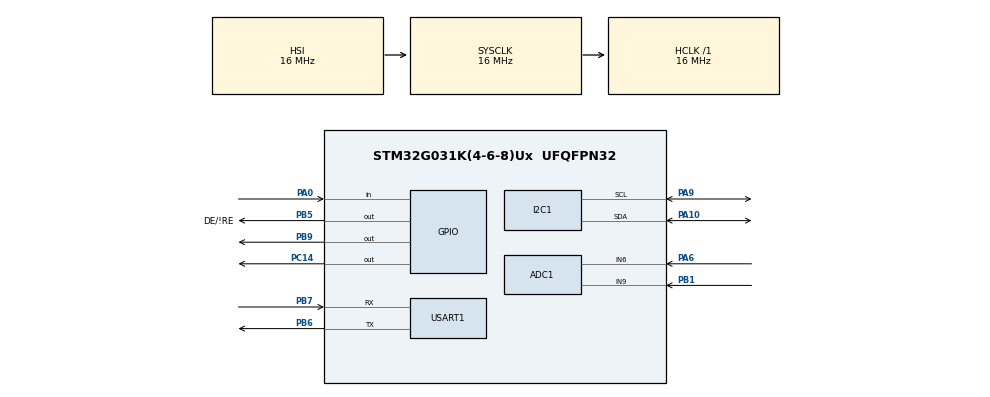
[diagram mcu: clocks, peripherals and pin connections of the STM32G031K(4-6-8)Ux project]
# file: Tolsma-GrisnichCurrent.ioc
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ADC1.Channel-0\#ChannelRegularConversion=ADC_CHANNEL_6
ADC1.NbrOfConversionFlag=1
ADC1.Rank-0\#ChannelRegularConversion=1
ADC1.SamplingTime-0\#ChannelRegularConversion=ADC_SAMPLINGTIME_COMMON_1
ADC1.SelectedChannel=ADC_CHANNEL_6|ADC_CHANNEL_9
ADC1.master=1
CRC.CRCLength=CRC_POLYLENGTH_8B
CRC.DefaultInitValueUse=DEFAULT_INIT_VALUE_ENABLE
CRC.DefaultPolynomialUse=DEFAULT_POLYNOMIAL_DISABLE
Dma.Request0=USART1_RX
Dma.USART1_RX.0.Direction=DMA_PERIPH_TO_MEMORY
Dma.USART1_RX.0.EventEnable=DISABLE
Dma.USART1_RX.0.Instance=DMA1_Channel1
Dma.USART1_RX.0.MemDataAlignment=DMA_MDATAALIGN_BYTE
Dma.USART1_RX.0.MemInc=DMA_MINC_ENABLE
Dma.USART1_RX.0.Mode=DMA_NORMAL
Dma.USART1_RX.0.PeriphDataAlignment=DMA_PDATAALIGN_BYTE
Dma.USART1_RX.0.PeriphInc=DMA_PINC_DISABLE
Dma.USART1_RX.0.Polarity=HAL_DMAMUX_REQ_GEN_RISING
Dma.USART1_RX.0.Priority=DMA_PRIORITY_HIGH
Dma.USART1_RX.0.RequestNumber=1
Dma.USART1_RX.0.SignalID=NONE
Dma.USART1_RX.0.SyncEnable=DISABLE
Dma.USART1_RX.0.SyncPolarity=HAL_DMAMUX_SYNC_NO_EVENT
Dma.USART1_RX.0.SyncRequestNumber=1
Dma.USART1_RX.0.SyncSignalID=NONE
FREERTOS.Mutexes01=CRCMutex,Dynamic,NULL,Available;ADCMutex,Dynamic,NULL,Available
FREERTOS.Queues01=uartDataQueue,4,uint32_t,0,Dynamic,NULL,NULL;stroomDataQueue,4,uint16_t,0,Dynamic,NULL,NULL
FREERTOS.Tasks01=UartRegeling,0,128,StartUartRegeling,Default,NULL,Dynamic,NULL,NULL;Stroomregeling,-2,128,StartStroomregeling,Default,NULL,Dynamic,NULL,NULL
FREERTOS.configUSE_NEWLIB_REENTRANT=0
I2C1.Timing=0x00503D58
Mcu.Family=STM32G0
Mcu.Name=STM32G031K(4-6-8)Ux
Mcu.Package=UFQFPN32
NVIC.DMA1_Channel1_IRQn=true\:3\:0\:false\:false\:true\:true\:false\:true\:true
NVIC.TIM1_BRK_UP_TRG_COM_IRQn=true\:3\:0\:false\:false\:true\:false\:false\:true\:true
NVIC.TimeBase=TIM1_BRK_UP_TRG_COM_IRQn
NVIC.TimeBaseIP=TIM1
NVIC.USART1_IRQn=true\:3\:0\:false\:false\:true\:true\:true\:true\:true
PA0.Signal=GPIO_Input
PA10.Mode=I2C
PA10.Signal=I2C1_SDA
PA13.Mode=Serial_Wire
PA13.Signal=SYS_SWDIO
PA14-BOOT0.Mode=Serial_Wire
PA14-BOOT0.Signal=SYS_SWCLK
PA6.Mode=IN6
PA6.Signal=ADC1_IN6
PA9.Mode=I2C
PA9.Signal=I2C1_SCL
PB1.Mode=IN9
PB1.Signal=ADC1_IN9
PB5.GPIO_Label=DE/\!RE
PB5.Signal=GPIO_Output
PB6.Mode=Asynchronous
PB6.Signal=USART1_TX
PB7.Mode=Asynchronous
PB7.Signal=USART1_RX
PB9.Signal=GPIO_Output
PC14-OSC32_IN\ (PC14).Signal=GPIO_Output
ProjectManager.HeapSize=0x200
ProjectManager.StackSize=0x400
ProjectManager.TargetToolchain=STM32CubeIDE
RCC.ADCFreq_Value=16000000
RCC.AHBFreq_Value=16000000
RCC.CortexFreq_Value=16000000
RCC.EXTERNAL_CLOCK_VALUE=12288000
RCC.HCLKFreq_Value=16000000
RCC.HSE_VALUE=8000000
RCC.HSI_VALUE=16000000
RCC.LSE_VALUE=32768
RCC.SYSCLKFreq_VALUE=16000000
RCC.VCOOutputFreq_Value=128000000
USART1.Parity=PARITY_NONE
USART1.SwapParam=ADVFEATURE_SWAP_DISABLE
USART1.VirtualMode-Asynchronous=VM_ASYNC
VP_CRC_VS_CRC.Mode=CRC_Activate
VP_FREERTOS_VS_CMSIS_V1.Mode=CMSIS_V1
VP_SYS_VS_tim1.Mode=TIM1
board=custom

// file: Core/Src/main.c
/* USER CODE BEGIN Header */
/**
  ******************************************************************************
  * @file           : main.c
  * @brief          : Main program body
  ******************************************************************************
  * @attention
  *
  * Copyright (c) 2025 STMicroelectronics.
  * All rights reserved.
  *
  * This software is licensed under terms that can be found in the LICENSE file
  * in the root directory of this software component.
  * If no LICENSE file comes with this software, it is provided AS-IS.
  *
  ******************************************************************************
  */
/* USER CODE END Header */
#include "main.h"
#include "cmsis_os.h"

/* USER CODE BEGIN Includes */
#include <stdbool.h>
#include <math.h>

/* USER CODE END Includes */

ADC_HandleTypeDef hadc1;

CRC_HandleTypeDef hcrc;

I2C_HandleTypeDef hi2c1;

UART_HandleTypeDef huart1;
DMA_HandleTypeDef hdma_usart1_rx;

osThreadId UartRegelingHandle;
osThreadId StroomregelingHandle;
osMessageQId uartDataQueueHandle;
osMessageQId stroomDataQueueHandle;
osMutexId CRCMutexHandle;
osMutexId ADCMutexHandle;
/* USER CODE BEGIN PV */

uint8_t adres = 1;
uint8_t RXData[4];
volatile bool RXReady = false;

/* USER CODE END PV */

void SystemClock_Config(void);
static void MX_GPIO_Init(void);
static void MX_DMA_Init(void);
static void MX_ADC1_Init(void);
static void MX_I2C1_Init(void);
static void MX_USART1_UART_Init(void);
static void MX_CRC_Init(void);
void StartUartRegeling(void const * argument);
void StartStroomregeling(void const * argument);

/* USER CODE BEGIN 0 */

//check of werkt
void calculateMessage(uint16_t data, uint8_t adress, uint8_t* TXData)
{
    // Vul het frame
    TXData[0] = adress;
    TXData[1] = (data >> 8) & 0x0F;   // bovenste 4 bits van 12-bit data
    TXData[2] = data & 0xFF;          // onderste 8 bits

    osMutexWait(CRCMutexHandle, osWaitForever);  // Mutex CRC aan

    //3 bytes array naar een uint32_t
    uint32_t crc_input =	((uint32_t)TXData[0] << 24) |
    						((uint32_t)TXData[1] << 16) |
							((uint32_t)TXData[2] << 8);

    TXData[3] = (uint8_t)HAL_CRC_Calculate(&hcrc, &crc_input, 1);
    __HAL_CRC_DR_RESET(&hcrc);	// Reset CRC
    osMutexRelease(CRCMutexHandle);     // Geef mutex terug
}

bool checkCRCMessage(uint8_t *RXData)
{
	//Mutex claimen
	osMutexWait(CRCMutexHandle, osWaitForever);

    uint32_t crc_input =	((uint32_t)RXData[0] << 24) |
    						((uint32_t)RXData[1] << 16) |
							((uint32_t)RXData[2] << 8);

    uint8_t crc = (uint8_t)HAL_CRC_Calculate(&hcrc, &crc_input, 1);
    //Reset CRC
    __HAL_CRC_DR_RESET(&hcrc);

    //Mutex loslaten
    osMutexRelease(CRCMutexHandle);

    return (crc == RXData[3]);
}

bool isAdresCorrect(uint8_t *RXData, uint8_t adres){
	return (adres == RXData[0]);
}

//Called bij een uart interrupt klaar
void HAL_UART_RxCpltCallback(UART_HandleTypeDef *huart){
    if (huart->Instance != USART1)
        return;

    //Combineert de 4 byte array en stuurt naar task
    uint32_t RXData32 = ((uint32_t)RXData[0] << 24) |
                		((uint32_t)RXData[1] << 16) |
						((uint32_t)RXData[2] << 8)  |
						((uint32_t)RXData[3]);
    BaseType_t xHigherPriorityTaskWoken = pdFALSE;
	xQueueSendFromISR(uartDataQueueHandle, &RXData32, &xHigherPriorityTaskWoken);
	portYIELD_FROM_ISR(xHigherPriorityTaskWoken);

    //klaar voor volgend bericht
    HAL_GPIO_WritePin(GPIOB, GPIO_PIN_5, GPIO_PIN_RESET); //Receive mode
    HAL_UART_Receive_DMA(huart, RXData, 4);
}

int32_t ADCtoStroom(uint16_t adc_value)
{
    const uint16_t ADC4m  = 884;
    const uint16_t ADC20m = 3940;

    // lineair, ook onder 4m en boven 20m
    return ((int32_t)(adc_value - ADC4m) * 4096) / (ADC20m - ADC4m);
}

void sendDAC(uint16_t DACData){
	//Stuur DAC aan op basis van 12 bit waarde
	//Zonder MUTEX, want maar 1 plek gebruikt het
	if(DACData > 0x0FFF){
		DACData = 0x0FFF;
	}

    uint8_t buffer[3];
    buffer[0] = 0x40;            		// Command byte
    buffer[1] = (DACData >> 4) & 0xFF; 	// Upper 8 bits
    buffer[2] = (DACData & 0x0F) << 4; 	// Lower 4 bits

    //I2C DAC aansturing
    HAL_I2C_Master_Transmit(&hi2c1, (0x61 << 1), buffer, 3, HAL_MAX_DELAY);
}

uint16_t ADCChannelSamples(uint32_t channel, uint8_t ADCSamples)
{
    uint32_t sum = 0;
    ADC_ChannelConfTypeDef sConfig = {0};

    // Mutex claimen
    osMutexWait(ADCMutexHandle, osWaitForever);

    // Channel instellen
    sConfig.Channel = channel;
    sConfig.Rank = ADC_REGULAR_RANK_1;
    sConfig.SamplingTime = ADC_SAMPLINGTIME_COMMON_1;
    HAL_ADC_ConfigChannel(&hadc1, &sConfig);

    // Averaging
    for (uint8_t i = 0; i < ADCSamples; i++) {
        HAL_ADC_Start(&hadc1);
        HAL_ADC_PollForConversion(&hadc1, HAL_MAX_DELAY);
        sum += HAL_ADC_GetValue(&hadc1);
        HAL_ADC_Stop(&hadc1);
    }

    // Mutex loslaten
    osMutexRelease(ADCMutexHandle);

    return (uint16_t)(sum / ADCSamples);
}

void I2C_Scanner(void)
{
    HAL_StatusTypeDef status;
    uint8_t device_found = 0;

    // Loop over alle mogelijke 7-bit I2C adressen (0x03 t/m 0x77)
    for(uint8_t addr = 0x03; addr <= 0x77; addr++) {
        status = HAL_I2C_IsDeviceReady(&hi2c1, addr << 1, 3, 10);
        if(status == HAL_OK) {
            device_found = 1;
            break; // stop bij het eerste gevonden device
        }
    }

    if(device_found) {
        HAL_GPIO_WritePin(GPIOC, GPIO_PIN_14, GPIO_PIN_SET);   // LED aan
    } else {
        HAL_GPIO_WritePin(GPIOC, GPIO_PIN_14, GPIO_PIN_RESET); // LED uit
    }
}

uint8_t I2C_TestAddress(uint8_t address)
{
    HAL_StatusTypeDef status;
    // HAL verwacht 7-bit adres links verschoven
    status = HAL_I2C_IsDeviceReady(&hi2c1, address << 1, 3, 100); // 3 trials, 100 ms timeout

    if(status == HAL_OK)
    {
        // Apparaat reageert → LED aan
        HAL_GPIO_WritePin(GPIOC, GPIO_PIN_14, GPIO_PIN_SET);
        return 1;
    }
    else
    {
        // Geen reactie → LED uit
        HAL_GPIO_WritePin(GPIOC, GPIO_PIN_14, GPIO_PIN_RESET);
        return 0;
    }
}

void UART_SendADC(uint16_t adcValue)
{
    uint8_t txBuf[2];

    adcValue &= 0x0FFF;      // Zorg dat het 12-bit is

    txBuf[0] = (adcValue >> 8) & 0xFF;  // High byte
    txBuf[1] = adcValue & 0xFF;         // Low byte

	HAL_GPIO_WritePin(GPIOB, GPIO_PIN_5, GPIO_PIN_SET); // Send mode
    HAL_UART_Transmit(&huart1, txBuf, 2, HAL_MAX_DELAY);
    HAL_GPIO_WritePin(GPIOB, GPIO_PIN_5, GPIO_PIN_RESET); //Receive mode
}

uint16_t UART_ReceiveADC(void)
{
    uint8_t rxBuf[2];
    uint16_t adcValue;

    HAL_GPIO_WritePin(GPIOD, GPIO_PIN_4, GPIO_PIN_RESET); //Receive mode
    HAL_UART_Receive(&huart1, rxBuf, 2, HAL_MAX_DELAY);

    adcValue = ((uint16_t)rxBuf[0] << 8) | rxBuf[1];
    adcValue &= 0x0FFF; // veiligheid

    return adcValue;
}

static inline int32_t ABS(int32_t x)
{
    return (x >= 0) ? x : -x;
}

static inline float clampf(float x, float min, float max)
{
    if (x < min) return min;
    if (x > max) return max;
    return x;
}

/* USER CODE END 0 */

int main(void)
{

  /* MCU Configuration--------------------------------------------------------*/

  /* Reset of all peripherals, Initializes the Flash interface and the Systick. */
  HAL_Init();

  /* Configure the system clock */
  SystemClock_Config();

  /* Initialize all configured peripherals */
  MX_GPIO_Init();
  MX_DMA_Init();
  MX_ADC1_Init();
  MX_I2C1_Init();
  MX_USART1_UART_Init();
  MX_CRC_Init();

  /* Create the mutex(es) */
  /* definition and creation of CRCMutex */
  osMutexDef(CRCMutex);
  CRCMutexHandle = osMutexCreate(osMutex(CRCMutex));

  /* definition and creation of ADCMutex */
  osMutexDef(ADCMutex);
  ADCMutexHandle = osMutexCreate(osMutex(ADCMutex));

  /* Create the queue(s) */
  /* definition and creation of uartDataQueue */
  osMessageQDef(uartDataQueue, 4, uint32_t);
  uartDataQueueHandle = osMessageCreate(osMessageQ(uartDataQueue), NULL);

  /* definition and creation of stroomDataQueue */
  osMessageQDef(stroomDataQueue, 4, uint16_t);
  stroomDataQueueHandle = osMessageCreate(osMessageQ(stroomDataQueue), NULL);

  /* Create the thread(s) */
  /* definition and creation of UartRegeling */
  osThreadDef(UartRegeling, StartUartRegeling, osPriorityNormal, 0, 128);
  UartRegelingHandle = osThreadCreate(osThread(UartRegeling), NULL);

  /* definition and creation of Stroomregeling */
  osThreadDef(Stroomregeling, StartStroomregeling, osPriorityLow, 0, 128);
  StroomregelingHandle = osThreadCreate(osThread(Stroomregeling), NULL);

  /* Start scheduler */
  osKernelStart();

  /* We should never get here as control is now taken by the scheduler */

  /* Infinite loop */
  while (1)
  {
	    HAL_Delay(10);
  }
}

void SystemClock_Config(void)
{
  RCC_OscInitTypeDef RCC_OscInitStruct = {0};
  RCC_ClkInitTypeDef RCC_ClkInitStruct = {0};

  /** Configure the main internal regulator output voltage
  */
  HAL_PWREx_ControlVoltageScaling(PWR_REGULATOR_VOLTAGE_SCALE1);

  /** Initializes the RCC Oscillators according to the specified parameters
  * in the RCC_OscInitTypeDef structure.
  */
  RCC_OscInitStruct.OscillatorType = RCC_OSCILLATORTYPE_HSI;
  RCC_OscInitStruct.HSIState = RCC_HSI_ON;
  RCC_OscInitStruct.HSIDiv = RCC_HSI_DIV1;
  RCC_OscInitStruct.HSICalibrationValue = RCC_HSICALIBRATION_DEFAULT;
  RCC_OscInitStruct.PLL.PLLState = RCC_PLL_NONE;
  if (HAL_RCC_OscConfig(&RCC_OscInitStruct) != HAL_OK)
  {
    Error_Handler();
  }

  /** Initializes the CPU, AHB and APB buses clocks
  */
  RCC_ClkInitStruct.ClockType = RCC_CLOCKTYPE_HCLK|RCC_CLOCKTYPE_SYSCLK
                              |RCC_CLOCKTYPE_PCLK1;
  RCC_ClkInitStruct.SYSCLKSource = RCC_SYSCLKSOURCE_HSI;
  RCC_ClkInitStruct.AHBCLKDivider = RCC_SYSCLK_DIV1;
  RCC_ClkInitStruct.APB1CLKDivider = RCC_HCLK_DIV1;

  if (HAL_RCC_ClockConfig(&RCC_ClkInitStruct, FLASH_LATENCY_0) != HAL_OK)
  {
    Error_Handler();
  }
}

static void MX_ADC1_Init(void)
{

  ADC_ChannelConfTypeDef sConfig = {0};

  /** Configure the global features of the ADC (Clock, Resolution, Data Alignment and number of conversion)
  */
  hadc1.Instance = ADC1;
  hadc1.Init.ClockPrescaler = ADC_CLOCK_SYNC_PCLK_DIV2;
  hadc1.Init.Resolution = ADC_RESOLUTION_12B;
  hadc1.Init.DataAlign = ADC_DATAALIGN_RIGHT;
  hadc1.Init.ScanConvMode = ADC_SCAN_DISABLE;
  hadc1.Init.EOCSelection = ADC_EOC_SINGLE_CONV;
  hadc1.Init.LowPowerAutoWait = DISABLE;
  hadc1.Init.LowPowerAutoPowerOff = DISABLE;
  hadc1.Init.ContinuousConvMode = DISABLE;
  hadc1.Init.NbrOfConversion = 1;
  hadc1.Init.DiscontinuousConvMode = DISABLE;
  hadc1.Init.ExternalTrigConv = ADC_SOFTWARE_START;
  hadc1.Init.ExternalTrigConvEdge = ADC_EXTERNALTRIGCONVEDGE_NONE;
  hadc1.Init.DMAContinuousRequests = DISABLE;
  hadc1.Init.Overrun = ADC_OVR_DATA_PRESERVED;
  hadc1.Init.SamplingTimeCommon1 = ADC_SAMPLETIME_1CYCLE_5;
  hadc1.Init.SamplingTimeCommon2 = ADC_SAMPLETIME_1CYCLE_5;
  hadc1.Init.OversamplingMode = DISABLE;
  hadc1.Init.TriggerFrequencyMode = ADC_TRIGGER_FREQ_HIGH;
  if (HAL_ADC_Init(&hadc1) != HAL_OK)
  {
    Error_Handler();
  }

  /** Configure Regular Channel
  */
  sConfig.Channel = ADC_CHANNEL_6;
  sConfig.Rank = ADC_REGULAR_RANK_1;
  sConfig.SamplingTime = ADC_SAMPLINGTIME_COMMON_1;
  if (HAL_ADC_ConfigChannel(&hadc1, &sConfig) != HAL_OK)
  {
    Error_Handler();
  }

}

static void MX_CRC_Init(void)
{

  hcrc.Instance = CRC;
  hcrc.Init.DefaultPolynomialUse = DEFAULT_POLYNOMIAL_DISABLE;
  hcrc.Init.DefaultInitValueUse = DEFAULT_INIT_VALUE_ENABLE;
  hcrc.Init.GeneratingPolynomial = 7;
  hcrc.Init.CRCLength = CRC_POLYLENGTH_8B;
  hcrc.Init.InputDataInversionMode = CRC_INPUTDATA_INVERSION_NONE;
  hcrc.Init.OutputDataInversionMode = CRC_OUTPUTDATA_INVERSION_DISABLE;
  hcrc.InputDataFormat = CRC_INPUTDATA_FORMAT_BYTES;
  if (HAL_CRC_Init(&hcrc) != HAL_OK)
  {
    Error_Handler();
  }

}

static void MX_I2C1_Init(void)
{

  hi2c1.Instance = I2C1;
  hi2c1.Init.Timing = 0x00503D58;
  hi2c1.Init.OwnAddress1 = 0;
  hi2c1.Init.AddressingMode = I2C_ADDRESSINGMODE_7BIT;
  hi2c1.Init.DualAddressMode = I2C_DUALADDRESS_DISABLE;
  hi2c1.Init.OwnAddress2 = 0;
  hi2c1.Init.OwnAddress2Masks = I2C_OA2_NOMASK;
  hi2c1.Init.GeneralCallMode = I2C_GENERALCALL_DISABLE;
  hi2c1.Init.NoStretchMode = I2C_NOSTRETCH_DISABLE;
  if (HAL_I2C_Init(&hi2c1) != HAL_OK)
  {
    Error_Handler();
  }

  /** Configure Analogue filter
  */
  if (HAL_I2CEx_ConfigAnalogFilter(&hi2c1, I2C_ANALOGFILTER_ENABLE) != HAL_OK)
  {
    Error_Handler();
  }

  /** Configure Digital filter
  */
  if (HAL_I2CEx_ConfigDigitalFilter(&hi2c1, 0) != HAL_OK)
  {
    Error_Handler();
  }

}

static void MX_USART1_UART_Init(void)
{

  huart1.Instance = USART1;
  huart1.Init.BaudRate = 115200;
  huart1.Init.WordLength = UART_WORDLENGTH_8B;
  huart1.Init.StopBits = UART_STOPBITS_1;
  huart1.Init.Parity = UART_PARITY_NONE;
  huart1.Init.Mode = UART_MODE_TX_RX;
  huart1.Init.HwFlowCtl = UART_HWCONTROL_NONE;
  huart1.Init.OverSampling = UART_OVERSAMPLING_16;
  huart1.Init.OneBitSampling = UART_ONE_BIT_SAMPLE_DISABLE;
  huart1.Init.ClockPrescaler = UART_PRESCALER_DIV1;
  huart1.AdvancedInit.AdvFeatureInit = UART_ADVFEATURE_NO_INIT;
  if (HAL_UART_Init(&huart1) != HAL_OK)
  {
    Error_Handler();
  }
  if (HAL_UARTEx_SetTxFifoThreshold(&huart1, UART_TXFIFO_THRESHOLD_1_8) != HAL_OK)
  {
    Error_Handler();
  }
  if (HAL_UARTEx_SetRxFifoThreshold(&huart1, UART_RXFIFO_THRESHOLD_1_8) != HAL_OK)
  {
    Error_Handler();
  }
  if (HAL_UARTEx_DisableFifoMode(&huart1) != HAL_OK)
  {
    Error_Handler();
  }

}

static void MX_DMA_Init(void)
{

  /* DMA controller clock enable */
  __HAL_RCC_DMA1_CLK_ENABLE();

  /* DMA interrupt init */
  /* DMA1_Channel1_IRQn interrupt configuration */
  HAL_NVIC_SetPriority(DMA1_Channel1_IRQn, 3, 0);
  HAL_NVIC_EnableIRQ(DMA1_Channel1_IRQn);

}

static void MX_GPIO_Init(void)
{
  GPIO_InitTypeDef GPIO_InitStruct = {0};

  /* GPIO Ports Clock Enable */
  __HAL_RCC_GPIOB_CLK_ENABLE();
  __HAL_RCC_GPIOC_CLK_ENABLE();
  __HAL_RCC_GPIOA_CLK_ENABLE();

  /*Configure GPIO pin Output Level */
  HAL_GPIO_WritePin(GPIOB, GPIO_PIN_9|DE__RE_Pin, GPIO_PIN_RESET);

  /*Configure GPIO pin Output Level */
  HAL_GPIO_WritePin(GPIOC, GPIO_PIN_14, GPIO_PIN_RESET);

  /*Configure GPIO pins : PB9 DE__RE_Pin */
  GPIO_InitStruct.Pin = GPIO_PIN_9|DE__RE_Pin;
  GPIO_InitStruct.Mode = GPIO_MODE_OUTPUT_PP;
  GPIO_InitStruct.Pull = GPIO_NOPULL;
  GPIO_InitStruct.Speed = GPIO_SPEED_FREQ_LOW;
  HAL_GPIO_Init(GPIOB, &GPIO_InitStruct);

  /*Configure GPIO pin : PC14 */
  GPIO_InitStruct.Pin = GPIO_PIN_14;
  GPIO_InitStruct.Mode = GPIO_MODE_OUTPUT_PP;
  GPIO_InitStruct.Pull = GPIO_NOPULL;
  GPIO_InitStruct.Speed = GPIO_SPEED_FREQ_LOW;
  HAL_GPIO_Init(GPIOC, &GPIO_InitStruct);

  /*Configure GPIO pin : PA0 */
  GPIO_InitStruct.Pin = GPIO_PIN_0;
  GPIO_InitStruct.Mode = GPIO_MODE_INPUT;
  GPIO_InitStruct.Pull = GPIO_NOPULL;
  HAL_GPIO_Init(GPIOA, &GPIO_InitStruct);

}

void StartUartRegeling(void const * argument)
{
  /* USER CODE BEGIN 5 */

	//uint32_t receivedRXData32;
	//HAL_GPIO_WritePin(GPIOB, GPIO_PIN_5, GPIO_PIN_RESET); //Receive mode
	//HAL_UART_Receive_DMA(&huart1, RXData, 4);

  /* Infinite loop */
  for(;;)
  {
	  /*
	  if(xQueueReceive(uartDataQueueHandle, &receivedRXData32, pdMS_TO_TICKS(50)) == pdTRUE){
		  //Stuurt zelfde data naar controller (adres 0)
		  uint8_t receivedRXData[4];
		  receivedRXData[0] = (receivedRXData32 >> 24) & 0xFF;
		  receivedRXData[1] = (receivedRXData32 >> 16) & 0xFF;
		  receivedRXData[2] = (receivedRXData32 >> 8)  & 0xFF;
		  receivedRXData[3] =  receivedRXData32        & 0xFF;

		  //Check of het adres en de CRC klopt
		  if(isAdresCorrect(receivedRXData, adres) && checkCRCMessage(receivedRXData)){
			  uint16_t receiveStroomData = 	((uint16_t)receivedRXData[1] << 8) | receivedRXData[2];
			  uint8_t ack[4];
			  calculateMessage(receiveStroomData, 0, ack); //0 is de controller
			  //Stuur de ack
			  HAL_GPIO_WritePin(GPIOB, GPIO_PIN_5, GPIO_PIN_SET); // Send mode
			  HAL_UART_Transmit(&huart1, ack, 4, HAL_MAX_DELAY);
			  HAL_GPIO_WritePin(GPIOB, GPIO_PIN_5, GPIO_PIN_RESET); //Receive mode

			  //Via queue naar andere task sturen die de stroom regelt receiveStroomData
			  xQueueSend(stroomDataQueueHandle, &receiveStroomData, portMAX_DELAY);
		  } else{
			  //CRC of adres niet juist
			  //Iets doen?
		  }
	  }
	  */
	  osDelay(100);
  }
  /* USER CODE END 5 */
}

void StartStroomregeling(void const * argument)
{
  /* USER CODE BEGIN StartStroomregeling */
  /* Infinite loop */

	uint16_t stroomData = 691;	//startwaarde stroom
	float kp = 0.3f; 			//P regeling factor
	float ki = 0.002f; 			//I regeling factor
	float integral = 0.0f;		//integraal waarde
	float minintegraal = 2000.0f;
	float maxintegraal = -2000.0f;
	float DACData = 800; 		//DAC begin waarde

	//0.04 mA afwijking toestaan voor stabiele waarde
	#define dodeband (0.04f * 4096.0f / 16.0f) // ≈ 10,24

  for(;;)
  {
	  //TODO: Mogelijkheid om de mode te wisselen voor externe spanning

	  //Ontvang de nieuwe stroomdata
	  //if (xQueueReceive(stroomDataQueueHandle, &stroomData, 0) != pdTRUE){
	  //}

	  //ADC uitlezen
	  uint16_t adc_value;
	  adc_value = ADCChannelSamples(ADC_CHANNEL_6, 16); //6 is de stroomsense channel

	  //converteren naar stroomwaarde 4-20mA is de range
	  int32_t huidigeStroomData = ADCtoStroom(adc_value);

	  //PI regeling
	  float error = (float)stroomData - (float)huidigeStroomData; // verschil
	  float abs_error = fabsf(error); //1x berekenen ipv 2x

	  if (abs_error < dodeband){
		  error *= abs_error / dodeband; // lineair afschalen bij kleine errors
	  } else{
		  integral += error; //grote error, dus update integraal
	  }
	  integral = clampf(integral, minintegraal, maxintegraal);
	  DACData += kp * error + ki * integral; // pas DAC waarde aan (PI)

	  // Limiet
	  if (DACData > 4095.0f) {
	      DACData = 4095.0f;
	      integral -= error;
	  }
	  if (DACData < 0.0f) {
	      DACData = 0.0f;
	      integral -= error;
	  }

	  // DAC aansturen op basis van de regeling
	  sendDAC((uint16_t)DACData);

    osDelay(50);
  }
  /* USER CODE END StartStroomregeling */
}

void HAL_TIM_PeriodElapsedCallback(TIM_HandleTypeDef *htim)
{
  if (htim->Instance == TIM1)
  {
    HAL_IncTick();
  }
}

void Error_Handler(void)
{
  __disable_irq();
  while (1)
  {
  }
}
